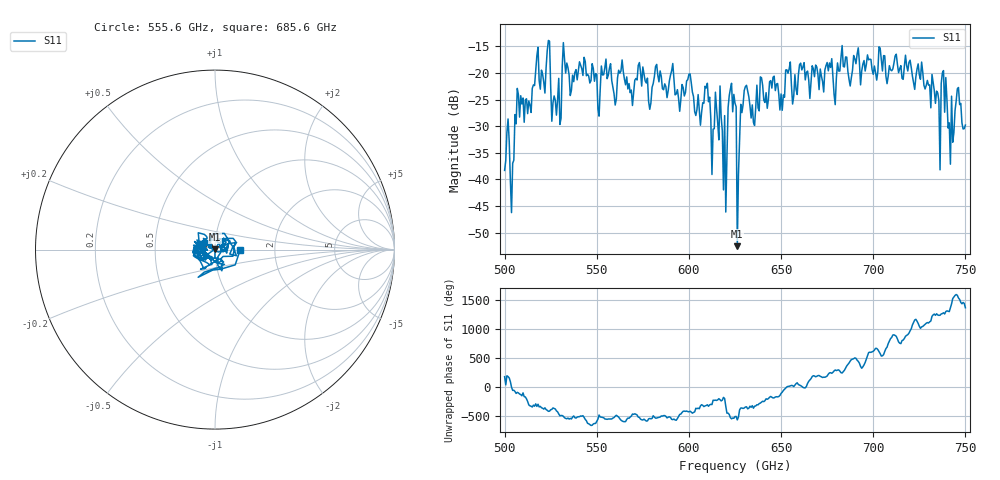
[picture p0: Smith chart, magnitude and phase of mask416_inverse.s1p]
!Created with skrf (http://scikit-rf.org).
# GHz S MA R 50.0
!freq magS11 angS11
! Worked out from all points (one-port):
!   401 points, 500 GHz to 750 GHz, reference 50 ohm
!   lowest |S11| = -52.5 dB at 626.2 GHz (marker M1), VSWR 1.00, Z = 49.8 + j0.106 ohm
!   |S11| at or under -10 dB: start of sweep to end of sweep
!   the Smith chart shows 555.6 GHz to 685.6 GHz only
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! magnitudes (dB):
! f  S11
! 500 GHz  -38.3
! 503.8 GHz  -46.2
! 506.9 GHz  -22.9
! 513.8 GHz  -26.0
! 516.9 GHz  -19.5
! 523.8 GHz  -13.9
! 526.9 GHz  -24.3
! 531.2 GHz  -18.9
! 559.4 GHz  -23.9
! 562.5 GHz  -20.1
! 593.8 GHz  -23.1
! 610 GHz  -21.9
! 612.5 GHz  -39.1
! 618.1 GHz  -30.9
! 619.4 GHz  -28.0
! 623.1 GHz  -22.0
! 625 GHz  -25.7
! 626.2 GHz  -52.5
! 631.2 GHz  -22.3
! 635 GHz  -29.3
! 656.2 GHz  -25.8
! 687.5 GHz  -22.5
! 718.8 GHz  -19.6
! 735 GHz  -23.8
! 738.1 GHz  -19.6
! 742.5 GHz  -24.4
! 746.2 GHz  -22.7
! 750 GHz  -29.8
